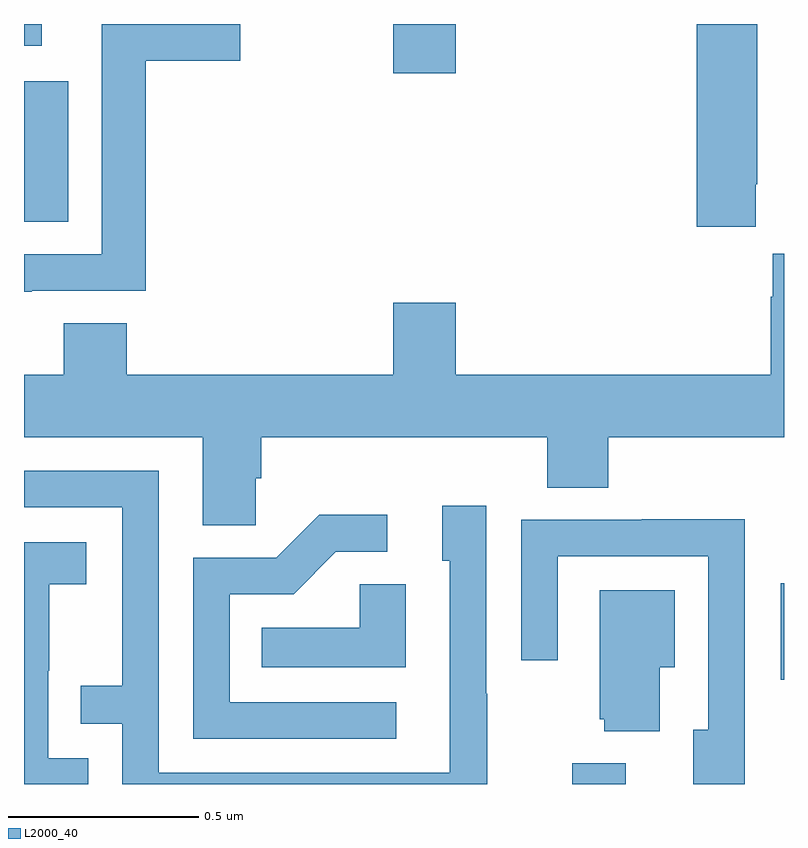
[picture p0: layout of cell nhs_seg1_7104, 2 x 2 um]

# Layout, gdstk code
import gdstk
lib = gdstk.Library(unit=1e-6, precision=1e-09)
def R(c, l, rs):  # rectangles x0, y0, x1, y1
    for r in rs: c.add(gdstk.rectangle(r[:2], r[2:], *l))
def P(c, l, *ps):  # polygons
    for p in ps: c.add(gdstk.Polygon(p, *l))
L2000_40 = (2000, 40)

nhs_seg1_7104 = lib.new_cell('nhs_seg1_7104')
R(nhs_seg1_7104, L2000_40, [(201.443,504.199,201.583,504.253), (201.992,504.473,202,504.727), (200,505.678,200.116,506.049), (200.972,506.07,201.136,506.199), (200,506.142,200.047,506.199)])
P(nhs_seg1_7104, L2000_40, [(201.925,505.777),(201.93,505.777),(201.93,506.199),(201.77,506.199),(201.77,505.665),(201.925,505.665)],
  [(200.021,505.497),(200.321,505.497),(200.321,506.102),(200.569,506.102),(200.569,506.199),(200.204,506.199),(200.204,506.118),(200.205,506.118),(200.205,505.593),(200,505.593),(200,505.495),(200.021,505.495)],
  [(200.61,505.003),(200.624,505.003),(200.624,505.112),(201.377,505.112),(201.377,504.979),(201.537,504.979),(201.537,505.112),(202,505.112),(202,505.594),(201.971,505.594),(201.971,505.481),(201.965,505.481),(201.965,505.276),(201.136,505.276),(201.136,505.465),(200.972,505.465),(200.972,505.276),(200.27,505.276),(200.27,505.412),(200.105,505.412),(200.105,505.276),(200,505.276),(200,505.112),(200.471,505.112),(200.471,504.88),(200.61,504.88)],
  [(201.219,504.437),(201.216,504.437),(201.216,504.931),(201.101,504.931),(201.101,504.786),(201.12,504.786),(201.12,504.228),(200.355,504.228),(200.355,505.023),(200,505.023),(200,504.927),(200.259,504.927),(200.259,504.458),(200.149,504.458),(200.149,504.357),(200.259,504.357),(200.259,504.199),(201.219,504.199)],
  [(200.98,504.414),(200.541,504.414),(200.541,504.699),(200.71,504.699),(200.821,504.81),(200.956,504.81),(200.956,504.908),(200.777,504.908),(200.664,504.795),(200.445,504.795),(200.445,504.318),(200.98,504.318)],
  [(201.897,504.896),(201.625,504.896),(201.625,504.894),(201.309,504.894),(201.309,504.525),(201.405,504.525),(201.405,504.798),(201.801,504.798),(201.801,504.342),(201.761,504.342),(201.761,504.199),(201.897,504.199)],
  [(200.169,504.267),(200.064,504.267),(200.064,504.497),(200.066,504.497),(200.066,504.725),(200.164,504.725),(200.164,504.835),(200,504.835),(200,504.199),(200.169,504.199)],
  [(201.004,504.725),(200.883,504.725),(200.883,504.61),(200.626,504.61),(200.626,504.506),(201.004,504.506)],
  [(201.673,504.506),(201.712,504.506),(201.712,504.709),(201.515,504.709),(201.515,504.369),(201.527,504.369),(201.527,504.338),(201.673,504.338)])

lib.write_gds('nhs_seg1_7104.gds')
